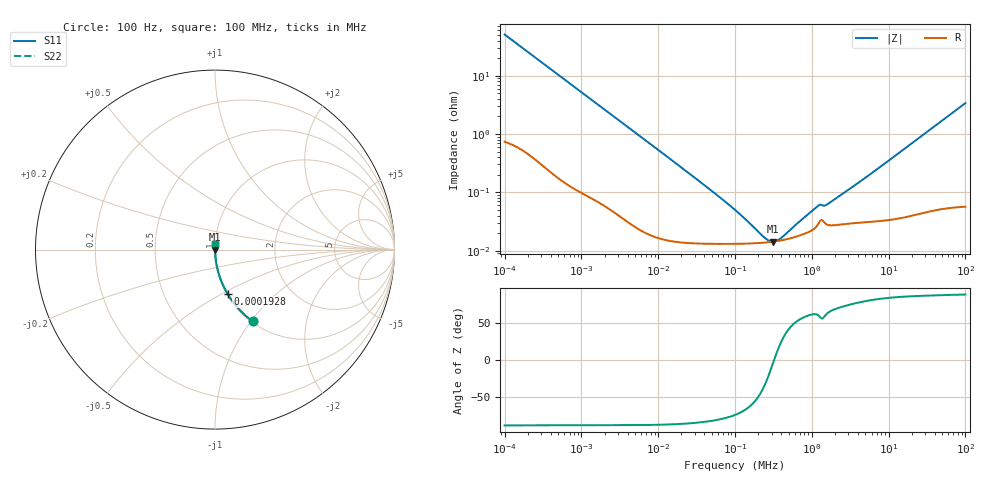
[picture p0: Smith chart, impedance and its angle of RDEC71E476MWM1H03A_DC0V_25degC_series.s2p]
!Murata Part Number: RDEC71E476MWM1H03A
!These Parameters are Measured in Series Mode Connection
!  o--ll--o
!Port1  Port2
!  o------o
!Operation Temp=25[degC], DC Bias Voltage=0[V]
!Freq. Start=100[Hz] Stop=100[MHz], 401[Steps]
!Data Generated on Jun 1, 2023
# Hz S RI R 50
!Freq.(Hz) S11(Real) S11(Imag) S21(Real) S21(Imag) S12(Real) S12(Imag) S22(Real) S22(Imag)
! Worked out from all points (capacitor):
!   401 points, 100 Hz to 100 MHz, reference 50 ohm
!   read as one part in series: C = 31.2 uF near 107.2 Hz
!   lowest |Z| = 14.3 mohm at 312.6 kHz (marker M1)
!   series resonance near 322.9 kHz, so ESL is about 7.8 nH
!   S11 on the Smith chart (normalised r, x): 100 Hz: 1.01, -1.02; 192.8 Hz: 1.01, -0.53; 100 MHz: 1.00, +0.07
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100  0.209 -0.3994  0.791 0.3994  0.791 0.3994  0.209 -0.3994
141.2538  0.1198 -0.3165  0.8802 0.3165  0.8802 0.3165  0.1198 -0.3165
192.7525  0.07 -0.2465  0.93 0.2465  0.93 0.2465  0.07 -0.2465
281.8383  0.0353 -0.1761  0.9647 0.1761  0.9647 0.1761  0.0353 -0.1761
412.0975  0.0176 -0.1233  0.9824 0.1233  0.9824 0.1233  0.0176 -0.1233
1011.579  0.00362 -0.0514  0.9964 0.0514  0.9964 0.0514  0.00362 -0.0514
2570.396  0.00089 -0.0206  0.9991 0.0206  0.9991 0.0206  0.00089 -0.0206
10232.93  0.00019 -0.00522  0.9998 0.00522  0.9998 0.00522  0.00019 -0.00522
45185.59  0.000132 -0.00116  0.9999 0.00116  0.9999 0.00116  0.000132 -0.00116
100000  0.000131 -0.000483  0.9999 0.000483  0.9999 0.000483  0.000131 -0.000483
237137.4  0.000137 -0.000103  0.9999 0.000103  0.9999 0.000103  0.000137 -0.000103
272270.1  0.000139 -5.6e-05  0.9999 5.6e-05  0.9999 5.6e-05  0.000139 -5.6e-05
312607.9  0.000142 -1.05e-05  0.9999 1.05e-05  0.9999 1.05e-05  0.000142 -1.05e-05
346736.9  0.000145 2.31e-05  0.9999 -2.31e-05  0.9999 -2.31e-05  0.000145 2.31e-05
398107.2  0.00015 6.79e-05  0.9999 -6.79e-05  0.9999 -6.79e-05  0.00015 6.79e-05
1011579  0.000225 0.000422  0.9998 -0.000422  0.9998 -0.000422  0.000225 0.000422
1244515  0.000304 0.000522  0.9997 -0.000522  0.9997 -0.000522  0.000304 0.000522
1479108  0.000298 0.000512  0.9997 -0.000512  0.9997 -0.000512  0.000298 0.000512
1640590  0.000275 0.000577  0.9997 -0.000577  0.9997 -0.000577  0.000275 0.000577
4168694  0.000303 0.00147  0.9997 -0.00147  0.9997 -0.00147  0.000303 0.00147
1.023293e7  0.000348 0.00355  0.9997 -0.00355  0.9997 -0.00355  0.000348 0.00355
1e8  0.00171 0.0338  0.9983 -0.0338  0.9983 -0.0338  0.00171 0.0338
